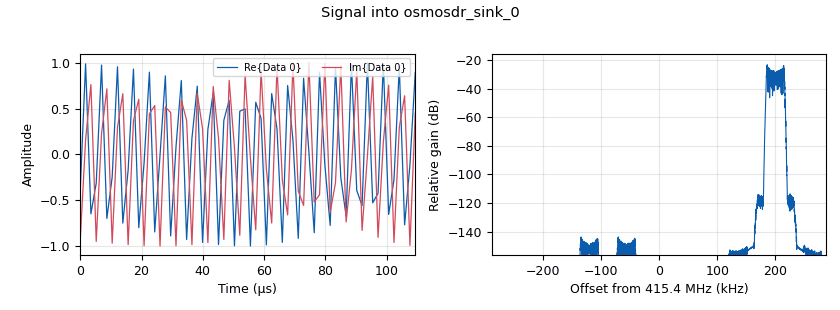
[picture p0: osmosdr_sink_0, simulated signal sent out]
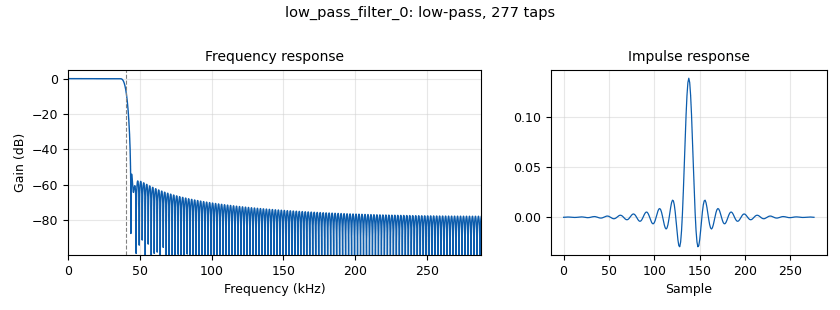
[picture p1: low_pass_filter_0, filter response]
options:
  parameters:
    generate_options: qt_gui
    id: test_0_yt
    output_language: python
    title: Not titled yet
  states: {}

blocks:
- name: RX_rf_gain
  id: variable_qtgui_range
  parameters:
    start: '0'
    step: '1'
    stop: '50'
    value: '0'
  states: {}
- name: TX_rf_gain
  id: variable_qtgui_range
  parameters:
    start: '0'
    step: '1'
    stop: '50'
    value: '30'
  states: {}
- name: noise
  id: variable_qtgui_range
  parameters:
    start: '1'
    step: '1'
    stop: '10000'
    value: '440'
  states: {}
- name: samp_rate
  id: variable
  parameters:
    value: '576000'
  states: {}
- name: sdr_samp_rate
  id: variable
  parameters:
    value: '96000'
  states: {}
- name: analog_frequency_modulator_fc_0
  id: analog_frequency_modulator_fc
  parameters:
    sensitivity: samp_rate
  states: {state: disabled}
- name: analog_nbfm_tx_0
  id: analog_nbfm_tx
  parameters:
    audio_rate: sdr_samp_rate
    fh: '-1.0'
    max_dev: 5e3
    quad_rate: sdr_samp_rate
    tau: '75e-6'
  states: {state: disabled}
- name: analog_nbfm_tx_1
  id: analog_nbfm_tx
  parameters:
    audio_rate: sdr_samp_rate
    fh: '-1.0'
    max_dev: 5e3
    quad_rate: sdr_samp_rate
    tau: '75e-6'
  states: {state: disabled}
- name: analog_noise_source_x_0
  id: analog_noise_source_x
  parameters:
    amp: '1'
    noise_type: analog.GR_GAUSSIAN
    seed: '0'
    type: complex
  states: {state: disabled}
- name: analog_sig_source_x_0
  id: analog_sig_source_x
  parameters:
    amp: '1'
    freq: noise
    offset: '0'
    phase: '0'
    samp_rate: sdr_samp_rate
    type: float
    waveform: analog.GR_COS_WAVE
  states: {}
- name: analog_sig_source_x_0_0
  id: analog_sig_source_x
  parameters:
    amp: '1'
    freq: '200000'
    offset: '0'
    phase: '0'
    samp_rate: samp_rate
    type: complex
    waveform: analog.GR_COS_WAVE
  states: {}
- name: analog_sig_source_x_1
  id: analog_sig_source_x
  parameters:
    amp: '1'
    freq: '1000'
    offset: '0'
    phase: '0'
    samp_rate: samp_rate
    type: float
    waveform: analog.GR_COS_WAVE
  states: {state: disabled}
- name: analog_wfm_tx_0
  id: analog_wfm_tx
  parameters:
    audio_rate: samp_rate
    fh: '-1.0'
    max_dev: 75e3
    quad_rate: samp_rate
    tau: '75e-6'
  states: {}
- name: audio_source_0
  id: audio_source
  parameters:
    samp_rate: '44100'
  states: {state: disabled}
- name: blocks_add_xx_0
  id: blocks_add_xx
  parameters:
    type: complex
  states: {state: disabled}
- name: blocks_add_xx_0_0
  id: blocks_add_xx
  parameters:
    type: complex
  states: {state: disabled}
- name: blocks_multiply_xx_0_1
  id: blocks_multiply_xx
  parameters:
    comment: UP-Conversion -> 1MHz
    type: complex
  states: {}
- name: blocks_multiply_xx_0_1_0
  id: blocks_multiply_xx
  parameters:
    comment: UP-Conversion -> 1MHz
    type: complex
  states: {state: disabled}
- name: low_pass_filter_0
  id: low_pass_filter
  parameters:
    cutoff_freq: '40000'
    decim: '1'
    gain: '1'
    samp_rate: samp_rate
    type: fir_filter_ccf
    width: '5000'
    win: window.WIN_HAMMING
  states: {}
- name: low_pass_filter_0_0
  id: low_pass_filter
  parameters:
    cutoff_freq: '40000'
    decim: '1'
    gain: '1'
    samp_rate: samp_rate
    type: fir_filter_ccf
    width: '5000'
    win: window.WIN_HAMMING
  states: {state: disabled}
- name: osmosdr_sink_0
  id: osmosdr_sink
  parameters:
    bb_gain0: '20'
    freq0: 415.4e6
    gain0: TX_rf_gain
    if_gain0: '20'
    sample_rate: samp_rate
    sync: sync
    type: fc32
  states: {}
- name: osmosdr_source_1
  id: osmosdr_source
  parameters:
    args: '"bladerf=0,nchan=1,buffers=48,transfers=24,agc_mode=manual"'
    bb_gain0: '20'
    freq0: 415.4e6
    gain0: RX_rf_gain
    gain_mode0: 'False'
    if_gain0: '20'
    sample_rate: samp_rate
    sync: sync
    type: fc32
  states: {}
- name: qtgui_sink_x_0
  id: qtgui_sink_x
  parameters:
    bw: samp_rate
    fc: '0'
    fftsize: '1024'
    type: complex
  states: {}
- name: rational_resampler_xxx_0
  id: rational_resampler_xxx
  parameters:
    decim: '1'
    interp: '8'
    type: ccc
  states: {}
- name: rational_resampler_xxx_0_0
  id: rational_resampler_xxx
  parameters:
    decim: '1'
    interp: '6'
    type: ccc
  states: {state: disabled}

connections:
- [analog_frequency_modulator_fc_0, '0', blocks_add_xx_0_0, '1']
- [analog_frequency_modulator_fc_0, '0', blocks_multiply_xx_0_1_0, '1']
- [analog_nbfm_tx_0, '0', blocks_add_xx_0_0, '0']
- [analog_nbfm_tx_0, '0', blocks_multiply_xx_0_1_0, '0']
- [analog_nbfm_tx_1, '0', rational_resampler_xxx_0, '0']
- [analog_noise_source_x_0, '0', blocks_add_xx_0, '0']
- [analog_sig_source_x_0, '0', analog_nbfm_tx_1, '0']
- [analog_sig_source_x_0, '0', analog_wfm_tx_0, '0']
- [analog_sig_source_x_0_0, '0', blocks_multiply_xx_0_1, '1']
- [analog_sig_source_x_1, '0', analog_frequency_modulator_fc_0, '0']
- [analog_wfm_tx_0, '0', rational_resampler_xxx_0, '0']
- [audio_source_0, '0', analog_nbfm_tx_0, '0']
- [blocks_add_xx_0, '0', osmosdr_sink_0, '0']
- [blocks_add_xx_0_0, '0', rational_resampler_xxx_0_0, '0']
- [blocks_multiply_xx_0_1, '0', blocks_add_xx_0, '1']
- [blocks_multiply_xx_0_1, '0', osmosdr_sink_0, '0']
- [blocks_multiply_xx_0_1_0, '0', rational_resampler_xxx_0_0, '0']
- [low_pass_filter_0, '0', blocks_multiply_xx_0_1, '0']
- [low_pass_filter_0_0, '0', osmosdr_sink_0, '0']
- [osmosdr_source_1, '0', qtgui_sink_x_0, '0']
- [rational_resampler_xxx_0, '0', low_pass_filter_0, '0']
- [rational_resampler_xxx_0_0, '0', low_pass_filter_0_0, '0']

metadata:
  file_format: 1
  grc_version: 3.10.5.1
